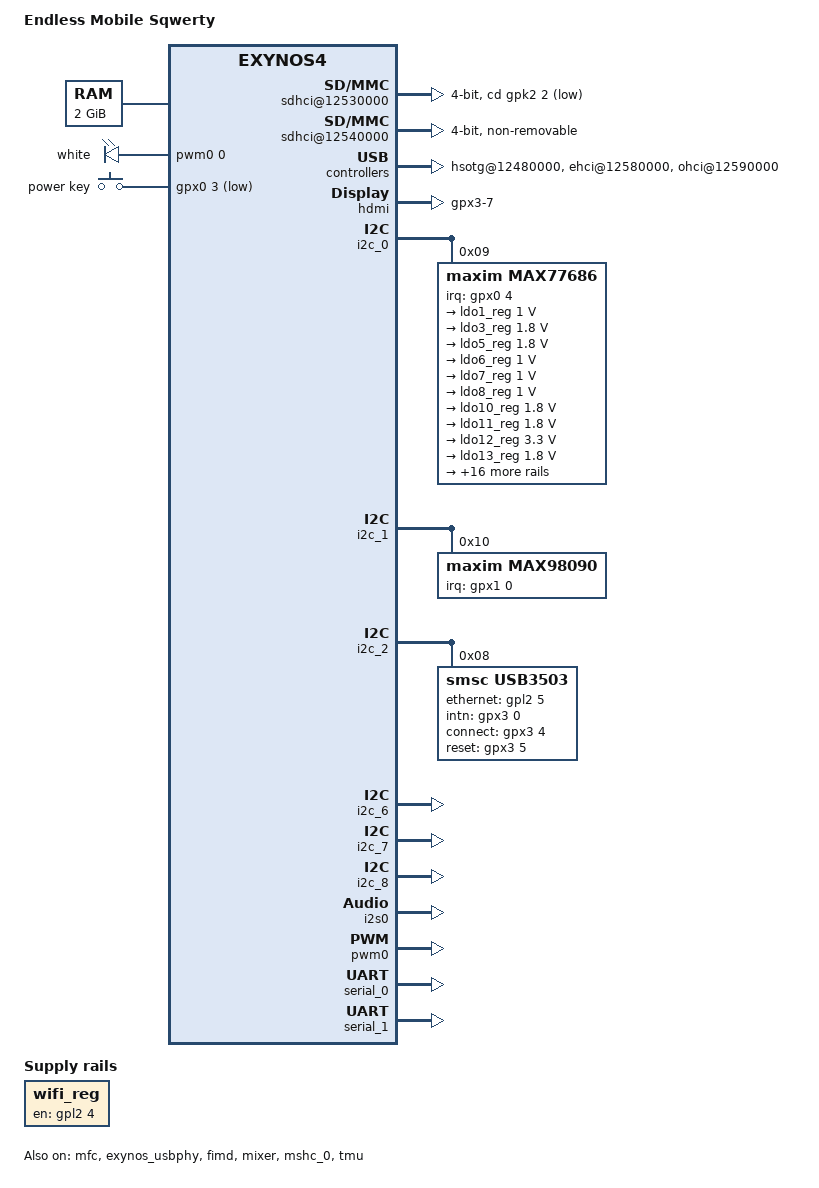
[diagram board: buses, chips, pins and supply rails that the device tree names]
/*
 * Endless Mobile Sqwerty device tree source
 *
 * This program is free software; you can redistribute it and/or modify
 * it under the terms of the GNU General Public License version 2 as
 * published by the Free Software Foundation.
*/

/dts-v1/;
#include <dt-bindings/input/input.h>
#include "exynos4412.dtsi"

/ {
	model = "Endless Mobile Sqwerty";
	compatible = "endlessm,sqwerty", "samsung,exynos4412", "samsung,exynos4";

	memory {
		reg = <0x40000000 0x7FF00000>;
	};

	firmware@0204F000 {
		compatible = "samsung,secure-firmware";
		reg = <0x0204F000 0x1000>;
	};

	pwmleds {
		compatible = "pwm-leds";
		pinctrl-names = "default";
		pinctrl-0 = <&pwm0_out>;

		white {
			pwms = <&pwm0 0 300000 0>;
			linux,default-trigger = "default-on";
		};
	};

	gpio_keys {
		compatible = "gpio-keys";
		pinctrl-names = "default";
		pinctrl-0 = <&gpio_power_key>;

		power_key {
			interrupt-parent = <&gpx0>;
			interrupts = <3 0>;
			gpios = <&gpx0 3 1>;
			linux,code = <KEY_POWER>;
			label = "power key";
			debounce-interval = <10>;
			gpio-key,wakeup;
		};
	};

	sound {
		compatible = "samsung,odroidu3-audio";
		samsung,model = "Sqwerty";
		samsung,audio-routing =
			"Headphone Jack", "HPL",
			"Headphone Jack", "HPR",
			"Headphone Jack", "MICBIAS",
			"IN1", "Headphone Jack",
			"Speakers", "SPKL",
			"Speakers", "SPKR";

		samsung,i2s-controller = <&i2s0>;
		samsung,audio-codec = <&max98090>;

		assigned-clocks = <&clock_audss EXYNOS_MOUT_AUDSS>,
				<&clock_audss EXYNOS_MOUT_I2S>,
				<&clock_audss EXYNOS_DOUT_SRP>,
				<&clock_audss EXYNOS_DOUT_AUD_BUS>;

		assigned-clock-parents = <&clock CLK_FOUT_EPLL>,
				<&clock_audss EXYNOS_MOUT_AUDSS>;

		assigned-clock-rates = <0>,
				<0>,
				<192000000>,
				<19200000>;
	};

	watchdog@10060000 {
		status = "okay";
	};

	rtc@10070000 {
		status = "okay";
	};

	g2d@10800000 {
		status = "okay";
	};

	camera {
		status = "okay";
		pinctrl-names = "default";
		pinctrl-0 = <>;

		fimc_0: fimc@11800000 {
			status = "okay";
		};

		fimc_1: fimc@11810000 {
			status = "okay";
		};

		fimc_2: fimc@11820000 {
			status = "okay";
		};

		fimc_3: fimc@11830000 {
			status = "okay";
		};
	};

	wifi_reg: regulator-wifi {
		compatible = "regulator-fixed";
		regulator-name = "WL_REG_ON";
		gpio = <&gpl2 4 0>;
		enable-active-high;
	};

	sdhci@12530000 {
		bus-width = <4>;
		pinctrl-0 = <&sd2_clk &sd2_cmd &sd2_cd &sd2_bus4>;
		pinctrl-names = "default";
		cd-gpios = <&gpk2 2 1>;
		status = "okay";
	};

	sdhci@12540000 { /* wifi */
		bus-width = <4>;
		pinctrl-0 = <&sd3_clk &sd3_cmd &sd3_cd &sd3_bus4>;
		pinctrl-names = "default";
		non-removable;
		status = "okay";
		vqmmc-supply = <&wifi_reg>;
	};

	fixed-rate-clocks {
		xxti {
			compatible = "samsung,clock-xxti";
			clock-frequency = <0>;
		};

		xusbxti {
			compatible = "samsung,clock-xusbxti";
			clock-frequency = <24000000>;
		};
	};

	hsotg@12480000 {
		status = "okay";
		vusb_d-supply = <&ldo15_reg>;
		vusb_a-supply = <&ldo12_reg>;
	};

	ehci@12580000 {
		status = "okay";

		port@1 { /* USB OTG port running in host mode */
			status = "okay";
		};
		port@1 { /* HSIC1 */
			status = "okay";
		};
		port@2 { /* HSIC2 */
			status = "okay";
		};
	};

	ohci@12590000 {
		status = "okay";

		/* USB OTG port running as host mode, for USB 1.x device support */
		port@0 {
			status = "okay";
		};
	};

	mali@13000000 {
		compatible = "arm,mali-400", "arm,mali-utgard";

		samsung,power-domain = <&pd_g3d>;

		/* Propagate APLL output clock to SCLK_G3D, and select an appropriate
		 * speed with the help of DIV_G3D. */
		assigned-clocks = <&clock CLK_MOUT_G3D0>, <&clock CLK_MOUT_G3D>, <&clock CLK_SCLK_G3D>;
		assigned-clock-parents = <&clock CLK_SCLK_APLL>, <&clock CLK_MOUT_G3D0>;
		assigned-clock-rates = <0>, <0>, <466666667>;

		clocks = <&clock CLK_SCLK_G3D>;
		clock-names = "sclk_g3d";

		reg = <0x13000000 0x30000>;

		interrupts = <0 127 0>, <0 122 0>, <0 123 0>, <0 118 0>, <0 124 0>,
			<0 119 0>, <0 125 0>, <0 120 0>, <0 126 0>, <0 121 0>;
		interrupt-names = "IRQGP", "IRQGPMMU", "IRQPP0", "IRQPPMMU0", "IRQPP1", "IRQPPMMU1",
			"IRQPP2", "IRQPPMMU2", "IRQPP3", "IRQPPMMU3";
	};
};

&clock {
	assigned-clocks = <&clock CLK_FOUT_EPLL>;
	assigned-clock-rates = <192000000>;
};

&mfc {
	samsung,mfc-r = <0x43000000 0x10000000>;
	samsung,mfc-l = <0x54000000 0x8000000>;
	status = "okay";
	assigned-clocks = <&clock CLK_SCLK_MFC>;
	assigned-clock-rates = <200000000>;
};

&exynos_usbphy {
	status = "okay";
};

&fimd {
	status = "okay";
	pinctrl-0 = <&lcd_clk &lcd_data24>;
	pinctrl-names = "default";
	ddc = <&i2c_6>;
	samsung,sysreg = <&sys_reg>;

	clocks = <&clock CLK_SCLK_FIMD0>, <&clock CLK_FIMD0>, <&clock CLK_FOUT_VPLL>;
	clock-names = "sclk_fimd", "fimd", "vclk";

	assigned-clocks = <&clock CLK_MOUT_FIMD0>;
	assigned-clock-parents = <&clock CLK_SCLK_VPLL>;
};

&hdmi {
	hpd-gpio = <&gpx3 7 0>;
	pinctrl-names = "default";
	pinctrl-0 = <&hdmi_hpd>;
	vdd-supply = <&ldo8_reg>;
	vdd_osc-supply = <&ldo10_reg>;
	vdd_pll-supply = <&ldo8_reg>;
	ddc = <&i2c_7>;
	status = "okay";
};

&i2c_0 {
	samsung,i2c-sda-delay = <100>;
	samsung,i2c-max-bus-freq = <400000>;
	status = "okay";

	max77686: pmic@09 {
		compatible = "maxim,max77686";
		interrupt-parent = <&gpx0>;
		interrupts = <4 0>;
		pinctrl-names = "default";
		pinctrl-0 = <&max77686_irq>;
		reg = <0x09>;
		#clock-cells = <1>;

		voltage-regulators {
			ldo1_reg: LDO1 {
				regulator-name = "VDD_ALIVE_1.0V";
				regulator-min-microvolt = <1000000>;
				regulator-max-microvolt = <1000000>;
				regulator-always-on;
			};

			ldo3_reg: LDO3 {
				regulator-name = "VDDQ_EXT_1.8V";
				regulator-min-microvolt = <1800000>;
				regulator-max-microvolt = <1800000>;
				regulator-always-on;
			};

			ldo5_reg: LDO5 {
				regulator-name = "VDDQ_MMC1_3_1.8V";
				regulator-min-microvolt = <1800000>;
				regulator-max-microvolt = <1800000>;
				regulator-always-on;
				regulator-boot-on;
			};

			ldo6_reg: LDO6 {
				regulator-name = "VDD10_MPLL_1.0V";
				regulator-min-microvolt = <1000000>;
				regulator-max-microvolt = <1000000>;
				regulator-always-on;
			};

			ldo7_reg: LDO7 {
				regulator-name = "VDD10_XPLL_1.0V";
				regulator-min-microvolt = <1000000>;
				regulator-max-microvolt = <1000000>;
				regulator-always-on;
			};

			ldo8_reg: ldo@8 {
				regulator-compatible = "LDO8";
				regulator-name = "VDD10_HDMI_1.0V";
				regulator-min-microvolt = <1000000>;
				regulator-max-microvolt = <1000000>;
			};

			ldo10_reg: ldo@10 {
				regulator-compatible = "LDO10";
				regulator-name = "VDDQ_MIPIHSI_1.8V";
				regulator-min-microvolt = <1800000>;
				regulator-max-microvolt = <1800000>;
			};

			ldo11_reg: LDO11 {
				regulator-name = "VDD18_ABB1_1.8V";
				regulator-min-microvolt = <1800000>;
				regulator-max-microvolt = <1800000>;
				regulator-always-on;
			};

			ldo12_reg: LDO12 {
				/* USB OTG port in host mode, RTC, USB hub */
				regulator-name = "VDD33_USB_3.3V";
				regulator-min-microvolt = <3300000>;
				regulator-max-microvolt = <3300000>;
				regulator-always-on;
				regulator-boot-on;
			};

			ldo13_reg: LDO13 {
				regulator-name = "VDDQ_C2C_W_1.8V";
				regulator-min-microvolt = <1800000>;
				regulator-max-microvolt = <1800000>;
				regulator-always-on;
				regulator-boot-on;
			};

			ldo14_reg: LDO14 {
				regulator-name = "VDD18_ABB0_2_1.8V";
				regulator-min-microvolt = <1800000>;
				regulator-max-microvolt = <1800000>;
				regulator-always-on;
				regulator-boot-on;
			};

			ldo15_reg: LDO15 {
				regulator-name = "VDD10_HSIC_1.0V";
				regulator-min-microvolt = <1000000>;
				regulator-max-microvolt = <1000000>;
				regulator-always-on;
				regulator-boot-on;
			};

			ldo16_reg: LDO16 {
				regulator-name = "VDD18_HSIC_1.8V";
				regulator-min-microvolt = <1800000>;
				regulator-max-microvolt = <1800000>;
				regulator-always-on;
				regulator-boot-on;
			};

			ldo17_reg: LDO17 { /* FIXME for audio: hook up as regulator? currently turned on by uboot */
				regulator-name = "LDO17_AUDIO_1.8V";
				regulator-min-microvolt = <1800000>;
				regulator-max-microvolt = <1800000>;
				regulator-always-on;
			};

			ldo18_reg: LDO18 { /* FIXME for audio: hook up as regulator? currently turned on by uboot */
				regulator-name = "LDO18_AUDIO_1.2V";
				regulator-min-microvolt = <1200000>;
				regulator-max-microvolt = <1200000>;
				regulator-always-on;
			};

			ldo20_reg: LDO20 {
				regulator-name = "LDO20_1.8V";
				regulator-min-microvolt = <1800000>;
				regulator-max-microvolt = <1800000>;
				regulator-always-on; /* fundamental SoC power */
				regulator-boot-on;
			};

			ldo21_reg: LDO21 { /* FIXME wifi/BT power: hook up as regulator */
				regulator-name = "LDO21";
				regulator-min-microvolt = <3300000>;
				regulator-max-microvolt = <3300000>;
				regulator-always-on;
			};

			ldo23_reg: LDO23 { /* FIXME wifi/BT power: hook up as regulator */
				regulator-name = "LDO23";
				regulator-min-microvolt = <3300000>;
				regulator-max-microvolt = <3300000>;
				regulator-always-on;
			};

			ldo24_reg: LDO24 { /* FIXME ethernet power: hook up as regulator */
				regulator-name = "LDO24";
				regulator-min-microvolt = <3300000>;
				regulator-max-microvolt = <3300000>;
				regulator-always-on;
			};

			ldo25_reg: LDO25 {
				regulator-name = "VDDQ_VGA_HDMI_3.3V";
				regulator-min-microvolt = <3300000>;
				regulator-max-microvolt = <3300000>;
				regulator-always-on;
				regulator-boot-on;
			};

			buck1_reg: BUCK1 {
				regulator-name = "vdd_mif";
				regulator-min-microvolt = <1000000>;
				regulator-max-microvolt = <1000000>;
				regulator-always-on;
				regulator-boot-on;
			};

			buck2_reg: BUCK2 {
				regulator-name = "vdd_arm";
				regulator-min-microvolt = <900000>;
				regulator-max-microvolt = <1350000>;
				regulator-always-on;
				regulator-boot-on;
			};

			buck3_reg: BUCK3 {
				regulator-name = "vdd_int";
				regulator-min-microvolt = <1000000>;
				regulator-max-microvolt = <1000000>;
				regulator-always-on;
				regulator-boot-on;
			};

			buck4_reg: BUCK4 {
				regulator-name = "vdd_g3d";
				regulator-min-microvolt = <950000>;
				regulator-max-microvolt = <1150000>;
				regulator-microvolt-offset = <50000>;
			};

			buck6_reg: BUCK6 {
				regulator-name = "BUCK6_1.35V";
				regulator-min-microvolt = <1350000>;
				regulator-max-microvolt = <1350000>;
				regulator-always-on;
				regulator-boot-on;
			};

			buck7_reg: BUCK7 {
				regulator-name = "BUCK7_2.0V";
				regulator-min-microvolt = <2000000>;
				regulator-max-microvolt = <2000000>;
				regulator-always-on;
			};
		};
	};
};

&i2c_1 {
	status = "okay";

	max98090: max98090@10 {
		compatible = "maxim,max98090";
		reg = <0x10>;
		interrupt-parent = <&gpx1>;
		interrupts = <0 0>;
	};
};

&i2c_2 {
	samsung,i2c-sda-delay = <100>;
	samsung,i2c-max-bus-freq = <400000>;
	status = "okay";

	usb3503: usb3503@08 {
		compatible = "smsc,usb3503";
		reg = <0x08>;

		ethernet-gpios = <&gpl2 5 0>;
		intn-gpios = <&gpx3 0 0>;
		connect-gpios = <&gpx3 4 0>;
		reset-gpios = <&gpx3 5 0>;
		initial-mode = <1>;

		clock-names = "refclk";

		/* Set parent clock XUSBXTI, running at 24MHz. */
		clocks = <&pmu_system_controller 0>;
		refclk-frequency = <24000000>;
		assigned-clocks = <&pmu_system_controller 0>;
		assigned-clock-parents = <&clock CLK_XUSBXTI>;
	};
};

&i2c_6 { /* VGA DDC */
	status = "okay";
	samsung,i2c-sda-delay = <100>;
};

&i2c_7 { /* HDMI DDC */
	status = "okay";
	samsung,i2c-sda-delay = <100>;
};

&i2c_8 { /* HDMI PHY */
	status = "okay";
};

&i2s0 {
	pinctrl-0 = <&i2s0_bus>;
	pinctrl-names = "default";
	status = "okay";
	clocks = <&clock_audss EXYNOS_I2S_BUS>,
		 <&clock_audss EXYNOS_DOUT_AUD_BUS>;
	clock-names = "iis", "i2s_opclk0";
};

&mixer {
	status = "okay";
};

&mshc_0 {
	pinctrl-0 = <&sd4_clk &sd4_cmd &sd4_bus4 &sd4_bus8>;
	pinctrl-names = "default";
	status = "okay";

	num-slots = <1>;
	supports-highspeed;
	broken-cd;
	card-detect-delay = <200>;
	samsung,dw-mshc-ciu-div = <3>;
	samsung,dw-mshc-sdr-timing = <2 3>;
	samsung,dw-mshc-ddr-timing = <1 2>;

	slot@0 {
		reg = <0>;
		bus-width = <8>;
	};
};

&pd_lcd0 {
	domain-always-on;
};

&pd_tv {
	domain-always-on;
};

&pinctrl_1 {
	max77686_irq: max77686-irq {
		samsung,pins = "gpx0-4";
		samsung,pin-function = <0>;
		samsung,pin-pud = <0>;
		samsung,pin-drv = <0>;
	};

	hdmi_hpd: hdmi-hpd {
		samsung,pins = "gpx3-7";
		samsung,pin-pud = <1>;
	};

	gpio_power_key: power_key {
		samsung,pins = "gpx0-3";
		samsung,pin-pud = <0>;
	};
};

&pwm0 {
	status = "okay";
};

&serial_0 {
	status = "okay";
};

&serial_1 {
	status = "okay";
};

&tmu {
	status = "okay";
	vtmu-supply = <&ldo10_reg>;
};

/* SampleA SDIO signal integrity tweaks */
&sd3_clk {
	samsung,pin-drv = <1>;
};

&sd3_cmd {
	samsung,pin-pud = <3>;
	samsung,pin-drv = <1>;
};

&sd3_bus4 {
	samsung,pin-drv = <0>;
};
